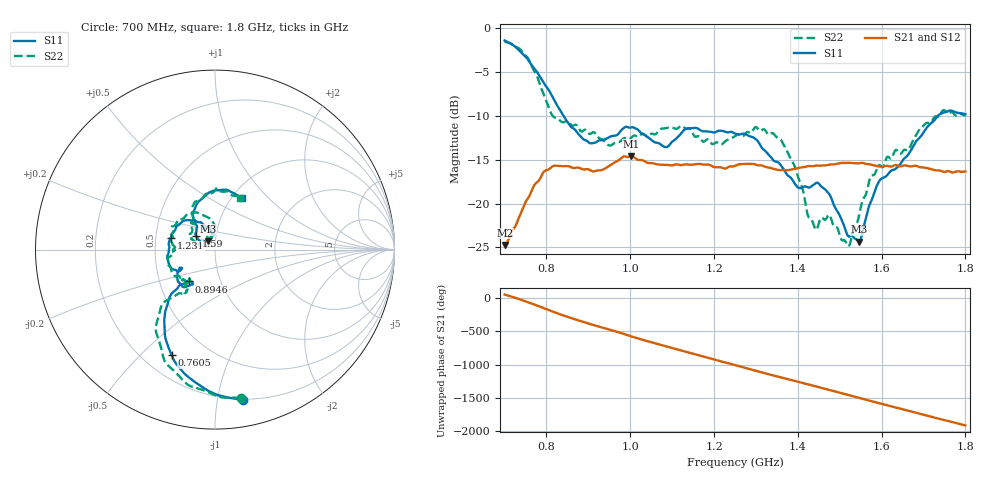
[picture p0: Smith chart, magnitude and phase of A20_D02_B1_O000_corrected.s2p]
! Created with skrf 1.9.0 (http://scikit-rf.org).
# Hz S RI R 50.0
!freq ReS11 ImS11 ReS21 ImS21 ReS12 ImS12 ReS22 ImS22
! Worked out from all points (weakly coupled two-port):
!   1601 points, 700 MHz to 1.8 GHz, reference 50 ohm
!   highest |S21| = -14.61 dB at 1.002 GHz (marker M1); lowest = -24.7 dB at 700.7 MHz (marker M2)
!   lowest |S11| = -24.4 dB at 1.546 GHz (marker M3), VSWR 1.13, Z = 46.1 + j4.31 ohm
!   |S11| at or under -10 dB: 840.7 MHz to 1.734 GHz (893.5 MHz wide, 69.4 % of centre)
!   |S22| runs from -24.9 to -1.5 dB; largest |S21 - S12| = 0.0034
!   S11 on the Smith chart (normalised r, x): 700 MHz: 0.20, -1.19; 760.5 MHz: 0.32, -0.62; 894.6 MHz: 0.71, -0.26; 1.231 GHz: 0.60, +0.09; 1.59 GHz: 0.80, +0.12; 1.8 GHz: 1.12, +0.71
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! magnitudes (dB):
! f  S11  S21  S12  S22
! 700 MHz  -1.4  -24.7  -24.5  -1.5
! 700.7 MHz  -1.4  -24.7  -24.4  -1.5
! 760.5 MHz  -3.9  -19.0  -18.9  -3.8
! 814.1 MHz  -7.8  -15.8  -15.8  -9.9
! 883.6 MHz  -12.4  -16.0  -15.9  -11.8
! 894.6 MHz  -12.8  -16.1  -16.2  -11.6
! 950.9 MHz  -12.4  -15.7  -15.7  -13.4
! 1.002 GHz  -11.3  -14.6  -14.7  -12.5
! 1.067 GHz  -13.1  -15.6  -15.5  -11.7
! 1.231 GHz  -11.9  -15.9  -15.9  -12.7
! 1.25 GHz  -12.0  -15.7  -15.6  -12.3
! 1.3 GHz  -12.7  -15.6  -15.6  -11.3
! 1.359 GHz  -15.6  -16.2  -16.2  -12.7
! 1.401 GHz  -18.2  -16.0  -16.0  -17.0
! 1.434 GHz  -18.0  -15.7  -15.7  -21.9
! 1.475 GHz  -18.9  -15.6  -15.6  -21.3
! 1.52 GHz  -23.7  -15.4  -15.4  -24.8
! 1.546 GHz  -24.4  -15.4  -15.4  -21.3
! 1.59 GHz  -17.8  -15.7  -15.7  -15.8
! 1.617 GHz  -16.5  -15.7  -15.7  -14.7
! 1.738 GHz  -9.8  -16.2  -16.3  -10.0
! 1.8 GHz  -9.8  -16.3  -16.3  -9.9
